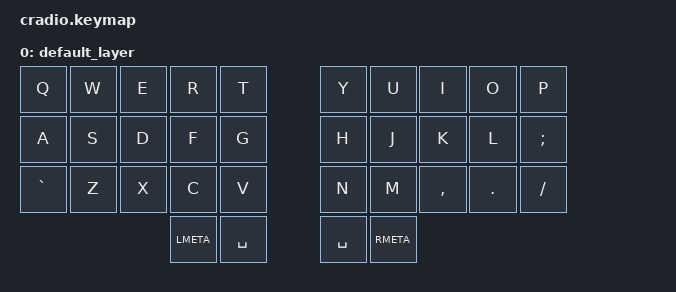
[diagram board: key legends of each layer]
// Copyright (c) 2022 The ZMK Contributors
// SPDX-License-Identifier: MIT

#include <behaviors.dtsi>
#include <dt-bindings/zmk/keys.h>
#include <dt-bindings/zmk/bt.h>


/ {
    keymap {
        compatible = "zmk,keymap";
        default_layer {
            bindings = <
            &kp Q      &kp W      &kp E      &kp R      &kp T          &kp Y      &kp U      &kp I      &kp O      &kp P
            &kp A      &kp S      &kp D      &kp F      &kp G          &kp H      &kp J      &kp K      &kp L      &kp SEMI
            &kp GRAVE  &kp Z      &kp X      &kp C      &kp V          &kp N      &kp M      &kp COMMA  &kp DOT    &kp FSLH
            // &kp Z      &kp X      &kp C      &kp V      &kp B          &kp N      &kp M      &kp COMMA  &kp DOT    &kp FSLH
                                            &kp LMETA   &kp SPACE     &kp SPACE  &kp RMETA
            >;
        };

     };
};
